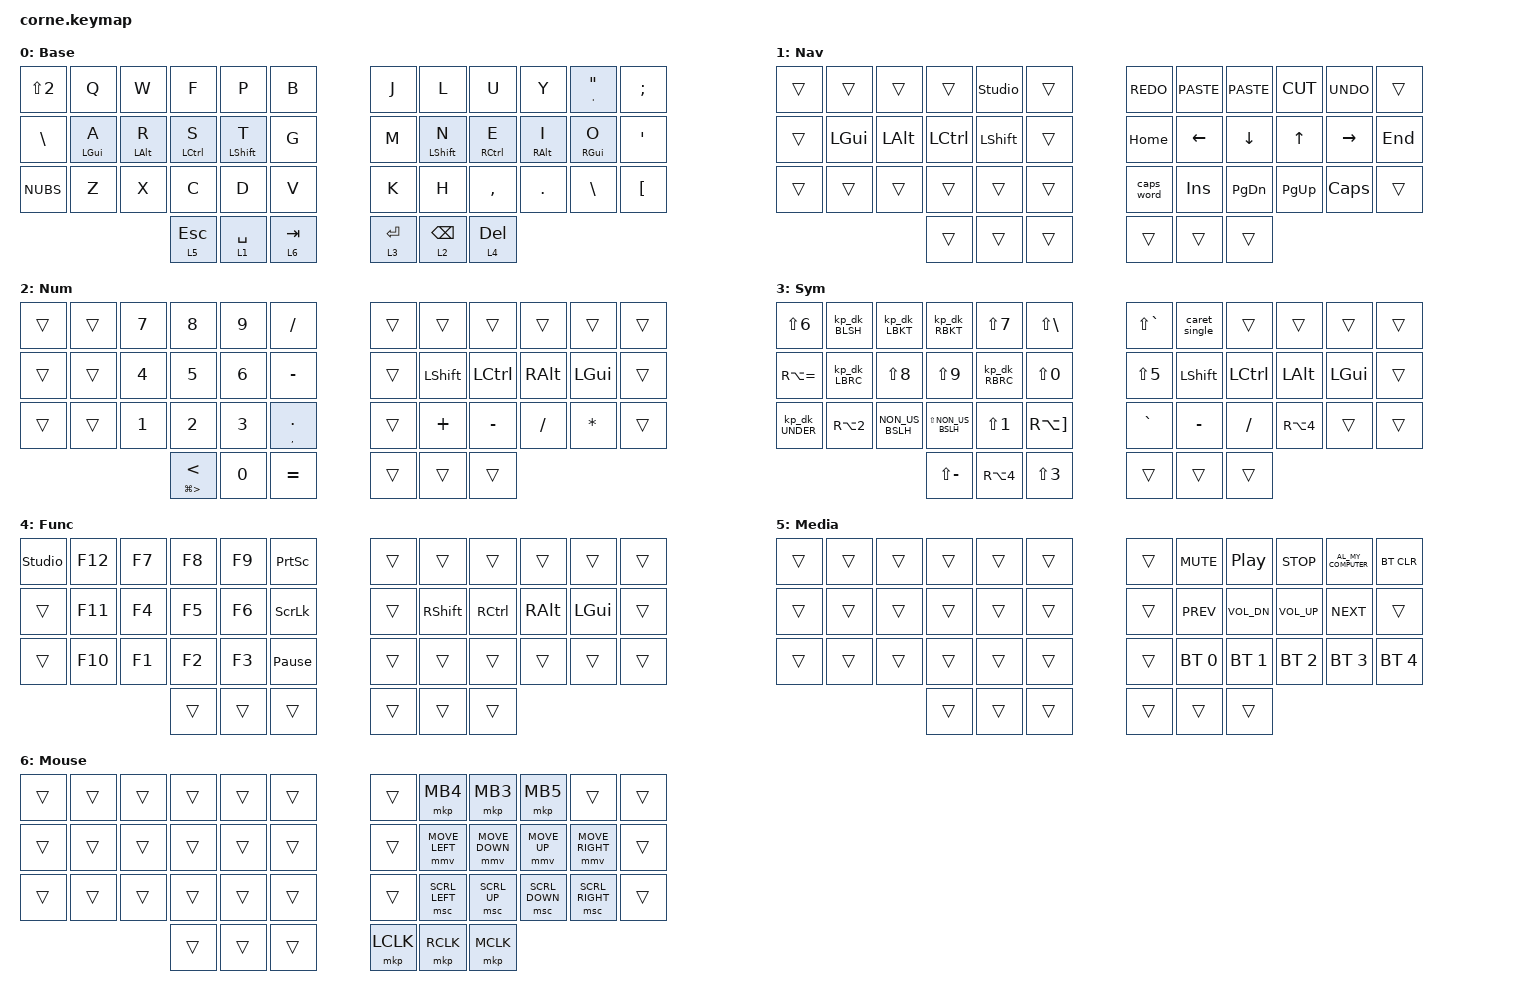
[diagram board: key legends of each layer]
/*
 * Copyright (c) 2020 The ZMK Contributors
 *
 * SPDX-License-Identifier: MIT
 */

#include "aliases.h" //file contains aliases for most symbols for the danish language
#include <behaviors.dtsi>
#include <dt-bindings/zmk/bt.h>
#include <dt-bindings/zmk/keys.h>
#include <dt-bindings/zmk/pointing.h>

/ {
    macros {
        kp_dk_LBKT: kp_dk_LBKT {
            label = "kp_dk_LBKT";
            compatible = "zmk,behavior-macro";
            #binding-cells = <0>;
            bindings =
                <&macro_press>,
                <&kp RALT>,
                <&macro_tap>,
                <&kp N8>,
                <&macro_release>,
                <&kp RALT>;
        };

        kp_dk_RBKT: kp_dk_RBKT {
            label = "kp_dk_RBKT";
            compatible = "zmk,behavior-macro";
            #binding-cells = <0>;
            bindings =
                <&macro_press>,
                <&kp RALT>,
                <&macro_tap>,
                <&kp N9>,
                <&macro_release>,
                <&kp RALT>;
        };

        kp_dk_LBRC: kp_dk_LBRC {
            label = "kp_dk_LBRC";
            compatible = "zmk,behavior-macro";
            #binding-cells = <0>;
            bindings =
                <&macro_press>,
                <&kp RALT>,
                <&macro_tap>,
                <&kp N7>,
                <&macro_release>,
                <&kp RALT>;
        };

        kp_dk_RBRC: kp_dk_RBRC {
            label = "kp_dk_RBRC";
            compatible = "zmk,behavior-macro";
            #binding-cells = <0>;
            bindings =
                <&macro_press>,
                <&kp RALT>,
                <&macro_tap>,
                <&kp N0>,
                <&macro_release>,
                <&kp RALT>;
        };

        copy: copy {
            label = "copy";
            compatible = "zmk,behavior-macro";
            #binding-cells = <0>;
            bindings =
                <&macro_press>,
                <&kp LCTRL>,
                <&macro_tap>,
                <&kp C>,
                <&macro_release>,
                <&kp LCTRL>;
        };

        dk_paste: dk_paste {
            label = "dk_paste";
            compatible = "zmk,behavior-macro";
            #binding-cells = <0>;
            bindings =
                <&macro_press>,
                <&kp LCTRL>,
                <&macro_tap>,
                <&kp V>,
                <&macro_release>,
                <&kp LCTRL>;
        };

        del_word: del_word {
            label = "del_word";
            compatible = "zmk,behavior-macro";
            #binding-cells = <0>;
            bindings =
                <&macro_press>,
                <&kp LCTRL>,
                <&macro_tap>,
                <&kp BACKSPACE>,
                <&macro_release>,
                <&kp LCTRL>;
        };

        kp_dk_BLSH: kp_dk_BLSH {
            label = "kp_dk_BLSH";
            compatible = "zmk,behavior-macro";
            #binding-cells = <0>;
            bindings =
                <&macro_press>,
                <&kp RALT>,
                <&macro_tap>,
                <&kp NON_US_BACKSLASH>,
                <&macro_release>,
                <&kp RALT>;
        };

        kp_dk_PIPE: kp_dk_PIPE {
            label = "kp_dk_PIPE";
            compatible = "zmk,behavior-macro";
            #binding-cells = <0>;
            bindings =
                <&macro_press>,
                <&kp RALT>,
                <&macro_tap>,
                <&kp EQUAL>,
                <&macro_release>,
                <&kp RALT>;
        };

        kp_dk_UNDER: kp_dk_UNDER {
            label = "kp_dk_UNDER";
            compatible = "zmk,behavior-macro";
            #binding-cells = <0>;
            bindings =
                <&macro_press>,
                <&kp LSHIFT>,
                <&macro_tap>,
                <&kp FSLH>,
                <&macro_release>,
                <&kp LSHIFT>;
        };

        mod_left: mod_left {
            label = "mod_left";
            compatible = "zmk,behavior-macro";
            #binding-cells = <0>;
            bindings =
                <&macro_press>,
                <&kp LGUI>,
                <&macro_tap>,
                <&kp LEFT>,
                <&macro_release>,
                <&kp LGUI>;
        };

        mod_up: mod_up {
            label = "mod_up";
            compatible = "zmk,behavior-macro";
            #binding-cells = <0>;
            bindings =
                <&macro_press>,
                <&kp LGUI>,
                <&macro_tap>,
                <&kp UP>,
                <&macro_release>,
                <&kp LGUI>;
        };

        mod_right: mod_right {
            label = "mod_right";
            compatible = "zmk,behavior-macro";
            #binding-cells = <0>;
            bindings =
                <&macro_press>,
                <&kp LGUI>,
                <&macro_tap>,
                <&kp RIGHT>,
                <&macro_release>,
                <&kp LGUI>;
        };

        mod_down: mod_down {
            label = "mod_down";
            compatible = "zmk,behavior-macro";
            #binding-cells = <0>;
            bindings =
                <&macro_press>,
                <&kp LGUI>,
                <&macro_tap>,
                <&kp DOWN>,
                <&macro_release>,
                <&kp LGUI>;
        };

        caret_single: caret_single {
            compatible = "zmk,behavior-macro";
            #binding-cells = <0>;
            bindings = <&kp LS(RIGHT_BRACKET) &kp SPACE>;
            label = "CARET_SINGLE";
        };
    };

    behaviors {
        hrmt: hrmt {
            compatible = "zmk,behavior-hold-tap";
            label = "HRMT";
            bindings = <&kp>, <&kp>;

            #binding-cells = <2>;
            tapping-term-ms = <280>;
            require-prior-idle-ms = <150>;
            flavor = "balanced";
            quick-tap-ms = <175>;
        };
    };

    keymap {
        compatible = "zmk,keymap";

        Base {
            // -----------------------------------------------------------------------------------------
            // |  TAB |  Q  |  W  |  F  |  P  |  B  |   |  J  |  L   |  U  |  Y  |  P  | BSPC |
            // | CTRL |  A  |  R  |  S  |  T  |  G  |   |  M  |  N   |  E  |  I  |  ;  |  '   |
            //|OUT_BLE|  Z  |  X  |  C  |  D  |  V  |   |  K  |  H   |  ,  |  .  |  /  | ESC  |
            //                    | GUI | LWR | SPC |   | ENT | RSE  | ALT |

            bindings = <
&kp LS(NUMBER_2)  &kp Q             &kp W             &kp F          &kp P               &kp B        &kp J        &kp L               &kp U          &kp Y              &mt SINGLE_QUOTE DOUBLE_QUOTES  &kp SEMICOLON
&kp BACKSLASH     &hrmt LEFT_GUI A  &hrmt LEFT_ALT R  &hrmt LCTRL S  &hrmt LEFT_SHIFT T  &kp G        &kp M        &hrmt LEFT_SHIFT N  &hrmt RCTRL E  &hrmt RIGHT_ALT I  &hrmt RIGHT_GUI O               &kp SQT
&kp NUBS          &kp Z             &kp X             &kp C          &kp D               &kp V        &kp K        &kp H               &kp COMMA      &kp DOT            &kp BACKSLASH                   &kp LBKT
                                                      &lt 5 ESCAPE   &lt 1 SPACE         &lt 6 TAB    &lt 3 ENTER  &lt 2 BACKSPACE     &lt 4 DELETE
            >;
        };

        Nav {
            bindings = <
&trans  &trans        &trans        &trans     &studio_unlock  &trans    &kp K_REDO  &kp K_PASTE     &kp K_PASTE     &kp K_CUT     &kp K_UNDO  &trans
&trans  &kp LEFT_GUI  &kp LEFT_ALT  &kp LCTRL  &kp LEFT_SHIFT  &trans    &kp HOME    &kp LEFT_ARROW  &kp DOWN_ARROW  &kp UP_ARROW  &kp RIGHT   &kp END
&trans  &trans        &trans        &trans     &trans          &trans    &caps_word  &kp INSERT      &kp PAGE_DOWN   &kp PAGE_UP   &kp CLCK    &trans
                                    &trans     &trans          &trans    &trans      &trans          &trans
            >;
        };

        Num {
            bindings = <
&trans  &trans  &kp N7  &kp N8                          &kp N9  &kp SLASH           &trans  &trans     &trans     &trans     &trans        &trans
&trans  &trans  &kp N4  &kp N5                          &kp N6  &kp MINUS           &trans  &kp LSHFT  &kp LCTRL  &kp RALT   &kp LGUI      &trans
&trans  &trans  &kp N1  &kp N2                          &kp N3  &mt COMMA PERIOD    &trans  &kp PLUS   &kp MINUS  &kp SLASH  &kp ASTERISK  &trans
                        &mt LG(GREATER_THAN) LESS_THAN  &kp N0  &kp EQUAL           &trans  &trans     &trans
            >;
        };

        Sym {
            bindings = <
&kp LS(NUMBER_6)  &kp_dk_BLSH       &kp_dk_LBKT      &kp_dk_RBKT          &kp LS(N7)        &kp LS(BACKSLASH)        &kp LS(GRAVE)  &caret_single   &trans     &trans            &trans        &trans
&kp RA(EQUAL)     &kp_dk_LBRC       &kp LS(N8)       &kp LS(N9)           &kp_dk_RBRC       &kp LS(N0)               &kp LS(N5)     &kp LEFT_SHIFT  &kp LCTRL  &kp LEFT_ALT      &kp LEFT_GUI  &trans
&kp_dk_UNDER      &kp RA(NUMBER_2)  &kp NON_US_BSLH  &kp LS(NON_US_BSLH)  &kp LS(NUMBER_1)  &kp RA(RIGHT_BRACKET)    &kp GRAVE      &kp MINUS       &kp SLASH  &kp RA(NUMBER_4)  &trans        &trans
                                                     &kp LS(MINUS)        &kp RA(NUMBER_4)  &kp LS(NUMBER_3)         &trans         &trans          &trans
            >;
        };

        Func {
            bindings = <
&studio_unlock  &kp F12  &kp F7  &kp F8  &kp F9  &kp PRINTSCREEN    &trans  &trans           &trans     &trans         &trans        &trans
&trans          &kp F11  &kp F4  &kp F5  &kp F6  &kp SCROLLLOCK     &trans  &kp RIGHT_SHIFT  &kp RCTRL  &kp RIGHT_ALT  &kp LEFT_GUI  &trans
&trans          &kp F10  &kp F1  &kp F2  &kp F3  &kp PAUSE_BREAK    &trans  &trans           &trans     &trans         &trans        &trans
                                 &trans  &trans  &trans             &trans  &trans           &trans
            >;
        };

        Media {
            bindings = <
&trans  &trans  &trans  &trans  &trans  &trans    &trans  &kp C_MUTE    &kp C_PP      &kp C_STOP    &kp C_AL_MY_COMPUTER  &bt BT_CLR
&trans  &trans  &trans  &trans  &trans  &trans    &trans  &kp C_PREV    &kp C_VOL_DN  &kp C_VOL_UP  &kp C_NEXT            &trans
&trans  &trans  &trans  &trans  &trans  &trans    &trans  &bt BT_SEL 0  &bt BT_SEL 1  &bt BT_SEL 2  &bt BT_SEL 3          &bt BT_SEL 4
                        &trans  &trans  &trans    &trans  &trans        &trans
            >;
        };

        Mouse {
            bindings = <
&trans  &trans  &trans  &trans  &trans  &trans    &trans     &mkp MB4        &mkp MB3        &mkp MB5        &trans           &trans
&trans  &trans  &trans  &trans  &trans  &trans    &trans     &mmv MOVE_LEFT  &mmv MOVE_DOWN  &mmv MOVE_UP    &mmv MOVE_RIGHT  &trans
&trans  &trans  &trans  &trans  &trans  &trans    &trans     &msc SCRL_LEFT  &msc SCRL_UP    &msc SCRL_DOWN  &msc SCRL_RIGHT  &trans
                        &trans  &trans  &trans    &mkp LCLK  &mkp RCLK       &mkp MCLK
            >;
        };
    };
};
